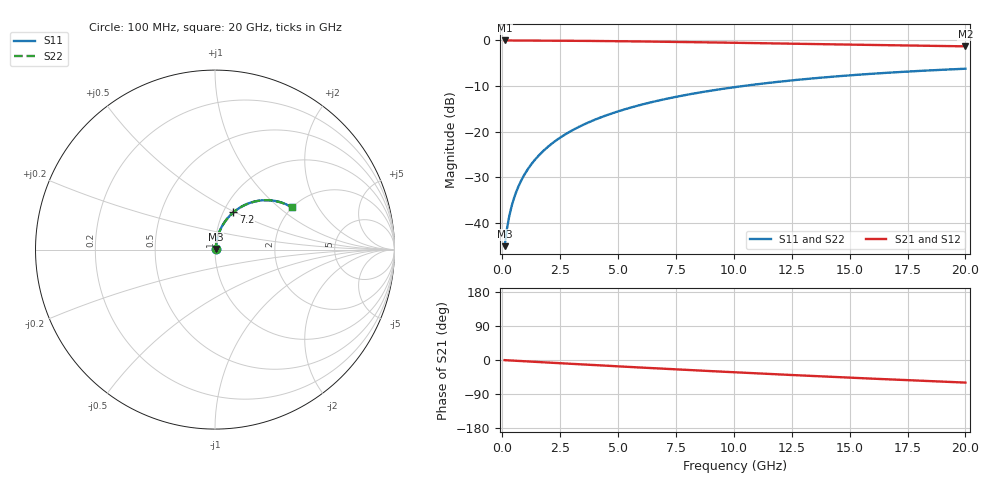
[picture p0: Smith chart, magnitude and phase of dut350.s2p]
! Touchstone file exported from HFSS 2026.1.0
!  File:  C:/ffzhzh/LocalFiles/Ansys_Project_Files/temp_train_TMRDL_350_1783003996_46388.aedt
!  Generated:  10:54:43 PM Jul  2, 2026
!  Design:  TMRDL
!  Project:  temp_train_TMRDL_350_1783003996_46388
! Variables:
!  h_bsmrdl = 2um
!  h_ox = 20um
!  h_rdl = 5um
!  h_sub = 80um
!  h_tmrdl = 4.08um
!  h_tsv = 80um
!  h_via = 3um
!  l_bsmrdl = 300um
!  l_sub = 1337.47um
!  l_tmrdl = 937.47um
!  m_sub = 200um
!  pitch = 48.27um
!  r_tsv = 6um
!  s_tmrdl = 10um
!  w_bsmrdl = 18um
!  w_sub = 500um
!  w_tmrdl = 20.69um
!  x_tsv_center1 = 947.815um
!  x_tsv_center2 = 1265.815um
!  x_tsv_center3 = 2223.975um
!  x_tsv_center4 = 2541.975um
!  x_tsv_center5 = 3500.135um
!  x_tsv_center6 = 3818.135um
# GHz S MA R 50.000000
! Terminal data exported
! Port[1] = TM_RDL1_1_T1
! Port[2] = TM_RDL1_1_T2
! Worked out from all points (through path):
!   200 points, 100 MHz to 20 GHz, reference 50 ohm
!   highest |S21| = -0.04 dB at 100 MHz (marker M1); lowest = -1.3 dB at 20 GHz (marker M2)
!   group delay of S21, straight-line fit = 8.27 ps
!   lowest |S11| = -45.1 dB at 100 MHz (marker M3), VSWR 1.01, Z = 50.4 + j0.379 ohm
!   |S11| at or under -10 dB: start of sweep to 10.41 GHz
!   |S22| runs from -45.1 to -6.2 dB; largest |S21 - S12| = 2e-15
!   S11 on the Smith chart (normalised r, x): 100 MHz: 1.01, +0.01; 7.2 GHz: 1.12, +0.49; 20 GHz: 1.98, +1.23
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0.1  0.00557 42.5  0.9959 -0.4  0.9959 -0.4  0.00557 42.5
! Gamma 0 0 0 0
! Port Impedance 50 0 50 0
0.2  0.008598 59.3  0.9957 -0.7  0.9957 -0.7  0.008598 59.3
0.3  0.01187 66.5  0.9954 -1.1  0.9954 -1.1  0.01187 66.5
0.4  0.01517 70.6  0.9952 -1.4  0.9952 -1.4  0.01517 70.6
0.5  0.01849 73.1  0.995 -1.7  0.995 -1.7  0.01849 73.1
0.6  0.02183 74.9  0.9948 -2.1  0.9948 -2.1  0.02183 74.9
0.8  0.02855 77.0  0.9945 -2.8  0.9945 -2.8  0.02855 77.0
1.1  0.0387 78.4  0.994 -3.8  0.994 -3.8  0.0387 78.4
1.5  0.05228 78.8  0.9931 -5.1  0.9931 -5.1  0.05228 78.8
1.8  0.06244 78.6  0.9924 -6.1  0.9924 -6.1  0.06244 78.6
2.1  0.07257 78.2  0.9915 -7.2  0.9915 -7.2  0.07257 78.2
2.7  0.09266 76.9  0.9893 -9.2  0.9893 -9.2  0.09267 76.9
3.5  0.119 74.8  0.9858 -11.8  0.9858 -11.8  0.119 74.7
4.2  0.1415 72.7  0.9822 -14.1  0.9822 -14.1  0.1415 72.7
5  0.1666 70.3  0.9775 -16.8  0.9775 -16.8  0.1666 70.3
6.8  0.2204 64.9  0.9653 -22.5  0.9653 -22.5  0.2204 64.8
7.2  0.2318 63.7  0.9623 -23.8  0.9623 -23.8  0.2318 63.6
8.6  0.2702 59.5  0.9514 -28.1  0.9514 -28.1  0.2702 59.5
10.1  0.3086 55.2  0.939 -32.6  0.939 -32.6  0.3086 55.1
13.4  0.3825 45.9  0.9106 -42.1  0.9106 -42.1  0.3825 45.9
16.7  0.4422 37.2  0.8831 -51.1  0.8831 -51.1  0.4422 37.1
20  0.4883 28.9  0.8587 -59.6  0.8587 -59.6  0.4884 28.9
